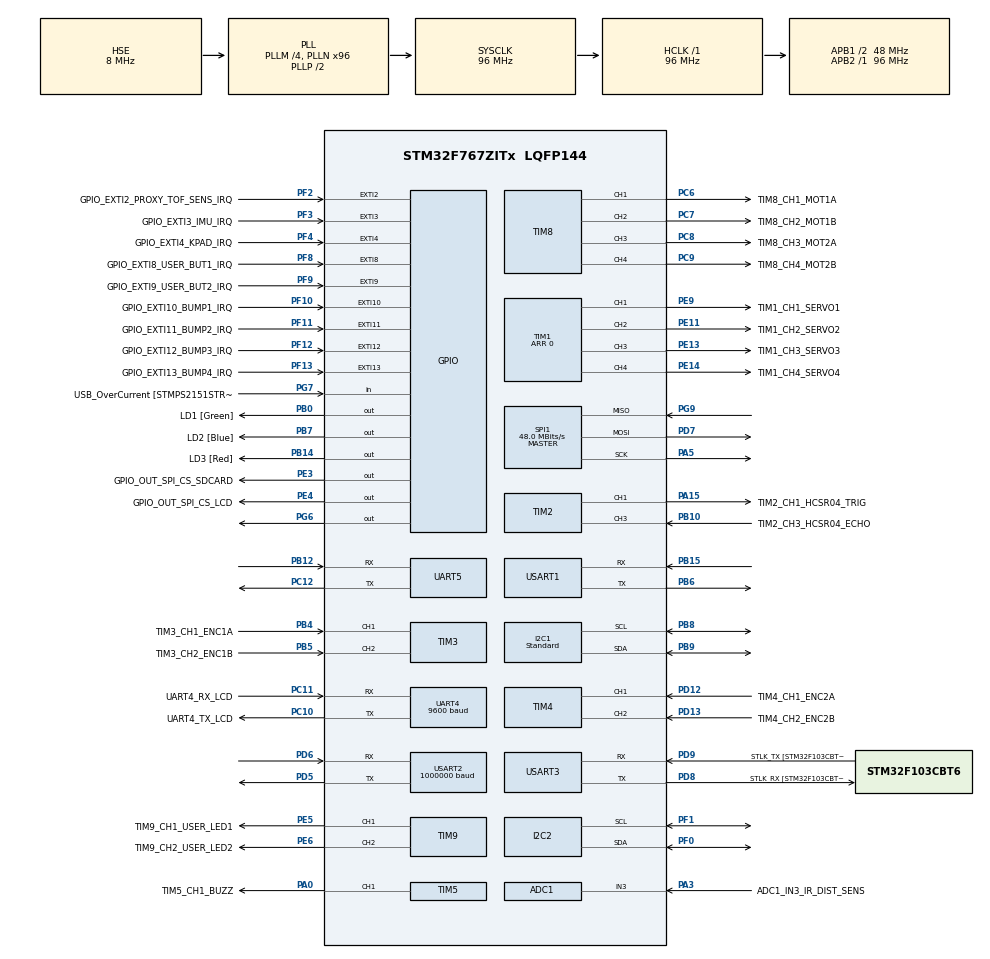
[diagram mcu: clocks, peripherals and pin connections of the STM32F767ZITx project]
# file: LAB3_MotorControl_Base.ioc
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ADC1.Channel-1\#ChannelRegularConversion=ADC_CHANNEL_3
ADC1.NbrOfConversionFlag=1
ADC1.Rank-1\#ChannelRegularConversion=1
ADC1.SamplingTime-1\#ChannelRegularConversion=ADC_SAMPLETIME_3CYCLES
ADC1.master=1
I2C1.I2C_Speed_Mode=I2C_Standard
I2C1.Timing=0x20303E5D
I2C2.Timing=0x20303E5D
Mcu.Family=STM32F7
Mcu.Name=STM32F767ZITx
Mcu.Package=LQFP144
Mcu.UserConstants=TIM1_ARR_VALUE,1999;TIM8_ARR_VALUE,399;TIM6_ARR_VALUE,99;TIM8_PSC_VALUE,959;TIM3_ARR_VALUE,3839;TIM1_PSC_VALUE,959;TIM6_PSC_VALUE,9599;TIM4_ARR_VALUE,3839
NVIC.PriorityGroup=NVIC_PRIORITYGROUP_4
NVIC.TIM6_DAC_IRQn=true\:1\:0\:true\:false\:true\:true\:true\:true
PA0/WKUP.GPIO_Label=TIM5_CH1_BUZZ
PA0/WKUP.Signal=S_TIM5_CH1
PA1.GPIO_Label=RMII_REF_CLK [LAN8742A-CZ-TR_REFCLK0]
PA1.Signal=ETH_REF_CLK
PA10.GPIO_Label=USB_ID
PA10.Signal=USB_OTG_FS_ID
PA11.GPIO_Label=USB_DM
PA11.Signal=USB_OTG_FS_DM
PA12.GPIO_Label=USB_DP
PA12.Signal=USB_OTG_FS_DP
PA13.GPIO_Label=TMS
PA13.Mode=Serial_Wire
PA13.Signal=SYS_JTMS-SWDIO
PA14.GPIO_Label=TCK
PA14.Mode=Serial_Wire
PA14.Signal=SYS_JTCK-SWCLK
PA15.GPIO_Label=TIM2_CH1_HCSR04_TRIG
PA15.Signal=S_TIM2_CH1_ETR
PA2.GPIO_Label=RMII_MDIO [LAN8742A-CZ-TR_MDIO]
PA2.Signal=ETH_MDIO
PA3.GPIO_Label=ADC1_IN3_IR_DIST_SENS
PA3.Signal=ADCx_IN3
PA5.Mode=Full_Duplex_Master
PA5.Signal=SPI1_SCK
PA7.GPIO_Label=RMII_CRS_DV [LAN8742A-CZ-TR_CRS_DV]
PA7.Signal=ETH_CRS_DV
PA8.GPIO_Label=USB_SOF [TP1]
PA8.Signal=USB_OTG_FS_SOF
PA9.GPIO_Label=USB_VBUS
PA9.Signal=USB_OTG_FS_VBUS
PB0.GPIO_Label=LD1 [Green]
PB0.Signal=GPIO_Output
PB10.GPIO_Label=TIM2_CH3_HCSR04_ECHO
PB10.Signal=S_TIM2_CH3
PB12.Mode=Asynchronous
PB12.Signal=UART5_RX
PB13.GPIO_Label=RMII_TXD1 [LAN8742A-CZ-TR_TXD1]
PB13.Signal=ETH_TXD1
PB14.GPIO_Label=LD3 [Red]
PB14.Signal=GPIO_Output
PB15.Mode=Asynchronous
PB15.Signal=USART1_RX
PB3.GPIO_Label=SWO
PB3.Signal=SYS_JTDO-SWO
PB4.GPIO_Label=TIM3_CH1_ENC1A
PB4.Signal=S_TIM3_CH1
PB5.GPIO_Label=TIM3_CH2_ENC1B
PB5.Signal=S_TIM3_CH2
PB6.Mode=Asynchronous
PB6.Signal=USART1_TX
PB7.GPIO_Label=LD2 [Blue]
PB7.Signal=GPIO_Output
PB8.GPIO_Pu=GPIO_PULLUP
PB8.Mode=I2C
PB8.Signal=I2C1_SCL
PB9.GPIO_Pu=GPIO_PULLUP
PB9.Mode=I2C
PB9.Signal=I2C1_SDA
PC1.GPIO_Label=RMII_MDC [LAN8742A-CZ-TR_MDC]
PC1.Signal=ETH_MDC
PC10.GPIO_Label=UART4_TX_LCD
PC10.Mode=Asynchronous
PC10.Signal=UART4_TX
PC11.GPIO_Label=UART4_RX_LCD
PC11.Mode=Asynchronous
PC11.Signal=UART4_RX
PC12.Mode=Asynchronous
PC12.Signal=UART5_TX
PC14/OSC32_IN.Mode=LSE-External-Oscillator
PC14/OSC32_IN.Signal=RCC_OSC32_IN
PC15/OSC32_OUT.Mode=LSE-External-Oscillator
PC15/OSC32_OUT.Signal=RCC_OSC32_OUT
PC4.GPIO_Label=RMII_RXD0 [LAN8742A-CZ-TR_RXD0]
PC4.Signal=ETH_RXD0
PC5.GPIO_Label=RMII_RXD1 [LAN8742A-CZ-TR_RXD1]
PC5.Signal=ETH_RXD1
PC6.GPIO_Label=TIM8_CH1_MOT1A
PC6.Signal=S_TIM8_CH1
PC7.GPIO_Label=TIM8_CH2_MOT1B
PC7.Signal=S_TIM8_CH2
PC8.GPIO_Label=TIM8_CH3_MOT2A
PC8.Signal=S_TIM8_CH3
PC9.GPIO_Label=TIM8_CH4_MOT2B
PC9.Signal=S_TIM8_CH4
PD12.GPIO_Label=TIM4_CH1_ENC2A
PD12.Signal=S_TIM4_CH1
PD13.GPIO_Label=TIM4_CH2_ENC2B
PD13.Signal=S_TIM4_CH2
PD5.Mode=Asynchronous
PD5.Signal=USART2_TX
PD6.Mode=Asynchronous
PD6.Signal=USART2_RX
PD7.Mode=Full_Duplex_Master
PD7.Signal=SPI1_MOSI
PD8.GPIO_Label=STLK_RX [STM32F103CBT6_PA3]
PD8.Mode=Asynchronous
PD8.Signal=USART3_TX
PD9.GPIO_Label=STLK_TX [STM32F103CBT6_PA2]
PD9.Mode=Asynchronous
PD9.Signal=USART3_RX
PE11.GPIO_Label=TIM1_CH2_SERVO2
PE11.Signal=S_TIM1_CH2
PE13.GPIO_Label=TIM1_CH3_SERVO3
PE13.Signal=S_TIM1_CH3
PE14.GPIO_Label=TIM1_CH4_SERVO4
PE14.Signal=S_TIM1_CH4
PE3.GPIO_Label=GPIO_OUT_SPI_CS_SDCARD
PE3.Signal=GPIO_Output
PE4.GPIO_Label=GPIO_OUT_SPI_CS_LCD
PE4.Signal=GPIO_Output
PE5.GPIO_Label=TIM9_CH1_USER_LED1
PE5.Signal=S_TIM9_CH1
PE6.GPIO_Label=TIM9_CH2_USER_LED2
PE6.Signal=S_TIM9_CH2
PE9.GPIO_Label=TIM1_CH1_SERVO1
PE9.Signal=S_TIM1_CH1
PF0.GPIO_Pu=GPIO_PULLUP
PF0.Mode=I2C
PF0.Signal=I2C2_SDA
PF1.GPIO_Pu=GPIO_PULLUP
PF1.Mode=I2C
PF1.Signal=I2C2_SCL
PF10.GPIO_Label=GPIO_EXTI10_BUMP1_IRQ
PF10.Signal=GPXTI10
PF11.GPIO_Label=GPIO_EXTI11_BUMP2_IRQ
PF11.Signal=GPXTI11
PF12.GPIO_Label=GPIO_EXTI12_BUMP3_IRQ
PF12.Signal=GPXTI12
PF13.GPIO_Label=GPIO_EXTI13_BUMP4_IRQ
PF13.Signal=GPXTI13
PF2.GPIO_Label=GPIO_EXTI2_PROXY_TOF_SENS_IRQ
PF2.Signal=GPXTI2
PF3.GPIO_Label=GPIO_EXTI3_IMU_IRQ
PF3.Signal=GPXTI3
PF4.GPIO_Label=GPIO_EXTI4_KPAD_IRQ
PF4.Signal=GPXTI4
PF8.GPIO_Label=GPIO_EXTI8_USER_BUT1_IRQ
PF8.Signal=GPXTI8
PF9.GPIO_Label=GPIO_EXTI9_USER_BUT2_IRQ
PF9.Signal=GPXTI9
PG11.GPIO_Label=RMII_TX_EN [LAN8742A-CZ-TR_TXEN]
PG11.Signal=ETH_TX_EN
PG13.GPIO_Label=RMII_TXD0 [LAN8742A-CZ-TR_TXD0]
PG13.Signal=ETH_TXD0
PG6.Signal=GPIO_Output
PG7.GPIO_Label=USB_OverCurrent [STMPS2151STR_FAULT]
PG7.Signal=GPIO_Input
PG9.Mode=Full_Duplex_Master
PG9.Signal=SPI1_MISO
PH0/OSC_IN.GPIO_Label=MCO [STM32F103CBT6_PA8]
PH0/OSC_IN.Mode=HSE-External-Clock-Source
PH0/OSC_IN.Signal=RCC_OSC_IN
PH1/OSC_OUT.Mode=HSE-External-Clock-Source
PH1/OSC_OUT.Signal=RCC_OSC_OUT
ProjectManager.HeapSize=0x200
ProjectManager.StackSize=0x400
ProjectManager.TargetToolchain=STM32CubeIDE
RCC.48MHZClocksFreq_Value=24000000
RCC.AHBFreq_Value=96000000
RCC.APB1CLKDivider=RCC_HCLK_DIV2
RCC.APB1Freq_Value=48000000
RCC.APB1TimFreq_Value=96000000
RCC.APB2Freq_Value=96000000
RCC.APB2TimFreq_Value=96000000
RCC.CortexFreq_Value=96000000
RCC.HCLKFreq_Value=96000000
RCC.HSE_VALUE=8000000
RCC.HSI_VALUE=16000000
RCC.PLLM=4
RCC.PLLMUL=RCC_PLL_MUL9
RCC.PLLN=96
RCC.PLLQ=4
RCC.PLLSourceVirtual=RCC_PLLSOURCE_HSE
RCC.PRESCALERUSB=RCC_USBCLKSOURCE_PLL_DIV1_5
RCC.SYSCLKFreq_VALUE=96000000
RCC.SYSCLKSource=RCC_SYSCLKSOURCE_PLLCLK
RCC.SYSCLKSourceVirtual=RCC_SYSCLKSOURCE_PLLCLK
RCC.USBFreq_Value=48000000
RCC.VCOOutputFreq_Value=192000000
SH.ADCx_IN3.0=ADC1_IN3,IN3
SH.S_TIM1_CH1.0=TIM1_CH1,Forced Output1 CH1
SH.S_TIM1_CH2.0=TIM1_CH2,Forced Output2 CH2
SH.S_TIM1_CH3.0=TIM1_CH3,Forced Output3 CH3
SH.S_TIM1_CH4.0=TIM1_CH4,Forced Output4 CH4
SH.S_TIM2_CH1_ETR.0=TIM2_CH1,PWM Generation1 CH1
SH.S_TIM2_CH3.0=TIM2_CH3,Input_Capture3_from_TI3
SH.S_TIM3_CH1.0=TIM3_CH1,Encoder_Interface
SH.S_TIM3_CH2.0=TIM3_CH2,Encoder_Interface
SH.S_TIM4_CH1.0=TIM4_CH1,Encoder_Interface
SH.S_TIM4_CH2.0=TIM4_CH2,Encoder_Interface
SH.S_TIM5_CH1.0=TIM5_CH1,PWM Generation1 CH1
SH.S_TIM8_CH1.0=TIM8_CH1,PWM Generation1 CH1
SH.S_TIM8_CH2.0=TIM8_CH2,PWM Generation2 CH2
SH.S_TIM8_CH3.0=TIM8_CH3,PWM Generation3 CH3
SH.S_TIM8_CH4.0=TIM8_CH4,PWM Generation4 CH4
SH.S_TIM9_CH1.0=TIM9_CH1,PWM Generation1 CH1
SH.S_TIM9_CH2.0=TIM9_CH2,PWM Generation2 CH2
SPI1.CalculateBaudRate=48.0 MBits/s
SPI1.Direction=SPI_DIRECTION_2LINES
SPI1.Mode=SPI_MODE_MASTER
SPI1.VirtualType=VM_MASTER
TIM1.Channel-Forced\ Output1\ CH1=TIM_CHANNEL_1
TIM1.Channel-Forced\ Output2\ CH2=TIM_CHANNEL_2
TIM1.Channel-Forced\ Output3\ CH3=TIM_CHANNEL_3
TIM1.Channel-Forced\ Output4\ CH4=TIM_CHANNEL_4
TIM1.OCPolarity_1=TIM_OCPOLARITY_LOW
TIM1.OCPolarity_2=TIM_OCPOLARITY_LOW
TIM1.OCPolarity_3=TIM_OCPOLARITY_LOW
TIM1.OCPolarity_4=TIM_OCPOLARITY_LOW
TIM1.Period=0
TIM2.Channel-Input_Capture3_from_TI3=TIM_CHANNEL_3
TIM2.Channel-PWM\ Generation1\ CH1=TIM_CHANNEL_1
TIM3.EncoderMode=TIM_ENCODERMODE_TI12
TIM3.IC1Filter=15
TIM3.IC2Filter=15
TIM3.Period=TIM3_ARR_VALUE
TIM4.EncoderMode=TIM_ENCODERMODE_TI12
TIM4.IC1Filter=15
TIM4.IC2Filter=15
TIM4.Period=TIM4_ARR_VALUE
TIM5.Channel-PWM\ Generation1\ CH1=TIM_CHANNEL_1
TIM6.Period=TIM6_ARR_VALUE
TIM6.Prescaler=TIM6_PSC_VALUE
TIM8.Channel-PWM\ Generation1\ CH1=TIM_CHANNEL_1
TIM8.Channel-PWM\ Generation2\ CH2=TIM_CHANNEL_2
TIM8.Channel-PWM\ Generation3\ CH3=TIM_CHANNEL_3
TIM8.Channel-PWM\ Generation4\ CH4=TIM_CHANNEL_4
TIM8.Period=TIM8_ARR_VALUE
TIM8.Prescaler=TIM8_PSC_VALUE
TIM9.Channel-PWM\ Generation1\ CH1=TIM_CHANNEL_1
TIM9.Channel-PWM\ Generation2\ CH2=TIM_CHANNEL_2
UART4.BaudRate=9600
USART1.VirtualMode-Asynchronous=VM_ASYNC
USART2.BaudRate=1000000
USART2.VirtualMode-Asynchronous=VM_ASYNC
USART3.VirtualMode-Asynchronous=VM_ASYNC
VP_TIM1_VS_ClockSourceINT.Mode=Internal
VP_TIM2_VS_ClockSourceINT.Mode=Internal
VP_TIM5_VS_ClockSourceINT.Mode=Internal
VP_TIM6_VS_ClockSourceINT.Mode=Enable_Timer
VP_TIM8_VS_ClockSourceINT.Mode=Internal
board=NUCLEO-F767ZI

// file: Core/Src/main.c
/* USER CODE BEGIN Header */
/**
 ******************************************************************************
 * @file           : main.c
 * @brief          : Main program body
 ******************************************************************************
 * @attention
 *
 * <h2><center>&copy; Copyright (c) 2021 STMicroelectronics.
 * All rights reserved.</center></h2>
 *
 * This software component is licensed by ST under BSD 3-Clause license,
 * the "License"; You may not use this file except in compliance with the
 * License. You may obtain a copy of the License at:
 *                        opensource.org/licenses/BSD-3-Clause
 *
 ******************************************************************************
 */
/* USER CODE END Header */
#include "main.h"

/* USER CODE BEGIN Includes */
#include <math.h>
#include <stdbool.h>
#include "ertc-datalogger.h"
/* USER CODE END Includes */

/* USER CODE BEGIN PD */
//#define	HAL_TIMEOUT		1
#define TS	0.01

#define VBATT	12.0/2.0
#define V2DUTY	((float)(TIM8_ARR_VALUE+1)/VBATT)
#define DUTY2V	((float)VBATT/(TIM8_ARR_VALUE+1))

#define RPM2RADS	2*M_PI/60
#define PPR_WHEEL 3840.0f

#define TIM3_ARR_VALUE 3840
#define TIM4_ARR_VALUE 3840

/* USER CODE END PD */

ADC_HandleTypeDef hadc1;

I2C_HandleTypeDef hi2c1;
I2C_HandleTypeDef hi2c2;

SPI_HandleTypeDef hspi1;

TIM_HandleTypeDef htim1;
TIM_HandleTypeDef htim2;
TIM_HandleTypeDef htim3;
TIM_HandleTypeDef htim4;
TIM_HandleTypeDef htim5;
TIM_HandleTypeDef htim6;
TIM_HandleTypeDef htim8;
TIM_HandleTypeDef htim9;

UART_HandleTypeDef huart4;
UART_HandleTypeDef huart5;
UART_HandleTypeDef huart1;
UART_HandleTypeDef huart2;
UART_HandleTypeDef huart3;

/* USER CODE BEGIN PV */
struct ertc_dlog logger;
float kp = 2.0; // Proportional gain (to be tuned)
float ki = 0.3; // Integral gain (to be tuned)
float kw = 10;  // Anti Wind up gain
float ref_w1 = 30.0; // Reference speed for motor 1 (rpm)
float ref_w2 = 30.0; // Reference speed for motor 2 (rpm)
float integral_w1 = 0.0, integral_w2 = 0.0; // Integral terms
float prev_count_w1 = 0.0, prev_count_w2 = 0.0; // Previous encoder counts
float sat_err1 = 0.0, sat_err2 = 0.0;
/* USER CODE END PV */

void SystemClock_Config(void);
static void MX_GPIO_Init(void);
static void MX_USART3_UART_Init(void);
static void MX_ADC1_Init(void);
static void MX_I2C1_Init(void);
static void MX_I2C2_Init(void);
static void MX_SPI1_Init(void);
static void MX_TIM1_Init(void);
static void MX_TIM2_Init(void);
static void MX_TIM3_Init(void);
static void MX_TIM4_Init(void);
static void MX_TIM5_Init(void);
static void MX_TIM8_Init(void);
static void MX_UART4_Init(void);
static void MX_UART5_Init(void);
static void MX_USART1_UART_Init(void);
static void MX_USART2_UART_Init(void);
static void MX_TIM9_Init(void);
static void MX_TIM6_Init(void);

/* USER CODE BEGIN 0 */

int _write(int file, char *ptr, int len)
{
	int DataIdx;
	for (DataIdx = 0; DataIdx < len; DataIdx++)
	{
		ITM_SendChar(*ptr++);
	}
	return len;
}

struct datalog {
	float w1, w2;
	float u1, u2;
} data;

void HAL_TIM_PeriodElapsedCallback(TIM_HandleTypeDef *htim)
{

	static int kLed = 0;
	// 1. Read encoder counts with overflow/underflow handling
	int32_t TIM3_CurrentCount = __HAL_TIM_GET_COUNTER(&htim3);
	int32_t TIM4_CurrentCount = __HAL_TIM_GET_COUNTER(&htim4);
	int32_t TIM3_DiffCount, TIM4_DiffCount;

	/* Speed ctrl routine */
	if(htim->Instance == TIM6)
	{

		// Indicate that the program is running
		if(++kLed >= 10)
		{
			kLed = 0;
			HAL_GPIO_TogglePin(LD2_GPIO_Port, LD2_Pin);
		}

		if (__HAL_TIM_IS_TIM_COUNTING_DOWN(&htim3)) {
			if (TIM3_CurrentCount <= prev_count_w1) {
				TIM3_DiffCount = TIM3_CurrentCount - prev_count_w1;
			} else {
				TIM3_DiffCount = -((TIM3_ARR_VALUE + 1) - TIM3_CurrentCount) - prev_count_w1;
			}
		} else {
			if (TIM3_CurrentCount >= prev_count_w1) {
				TIM3_DiffCount = TIM3_CurrentCount - prev_count_w1;
			} else {
				TIM3_DiffCount = ((TIM3_ARR_VALUE + 1) - prev_count_w1) + TIM3_CurrentCount;
			}
		}
		prev_count_w1 = TIM3_CurrentCount;

		if (__HAL_TIM_IS_TIM_COUNTING_DOWN(&htim4)) {
			if (TIM4_CurrentCount <= prev_count_w2) {
				TIM4_DiffCount = TIM4_CurrentCount - prev_count_w2;
			} else {
				TIM4_DiffCount = -((TIM4_ARR_VALUE + 1) - TIM4_CurrentCount) - prev_count_w2;
			}
		} else {
			if (TIM4_CurrentCount >= prev_count_w2) {
				TIM4_DiffCount = TIM4_CurrentCount - prev_count_w2;
			} else {
				TIM4_DiffCount = ((TIM4_ARR_VALUE + 1) - prev_count_w2) + TIM4_CurrentCount;
			}
		}
		prev_count_w2 = TIM4_CurrentCount;

		// 2. Calculate angular speed (rpm)
		float w1 = (TIM3_DiffCount / PPR_WHEEL) * 60.0f / TS;
		float w2 = (TIM4_DiffCount / PPR_WHEEL) * 60.0f / TS;

		// 3. Calculate error
		float error_w1 = ref_w1 - w1;
		float error_w2 = ref_w2 - w2;
		printf("%ld, %ld\n", (int32_t)error_w1, (int32_t)error_w2);

		// 4. Calculate proportional term
		float p_term_w1 = kp * error_w1;
		float p_term_w2 = kp * error_w2;

		// 5. Calculate integral term
		integral_w1 += (ki * error_w1 - kw * sat_err1)* TS;
		integral_w2 += (ki * error_w2 - kw * sat_err2) * TS;

		// 6. Calculate control signal (u)
		float u1 = p_term_w1 + integral_w1;
		float u2 = p_term_w2 + integral_w2;

		// 7. Saturate control signal to avoid exceeding VBATT
		float u1_sat = fminf(fmaxf(u1, -VBATT), VBATT);
		float u2_sat = fminf(fmaxf(u2, -VBATT), VBATT);

		sat_err1 = u1 - u1_sat;
		sat_err2 = u2 - u2_sat;

		int32_t duty1 = u1_sat * V2DUTY;
		int32_t duty2 = u2_sat * V2DUTY;

		/* calculate duty properly */
		if ( duty1 >= 0) { // rotate forward
			/* alternate between forward and coast */
			__HAL_TIM_SET_COMPARE (& htim8 , TIM_CHANNEL_1 , ( uint32_t ) duty1 );
			__HAL_TIM_SET_COMPARE (& htim8 , TIM_CHANNEL_2 , 0) ;
			/* alternate between forward and brake , TIM8_ARR_VALUE is a define */
			 __HAL_TIM_SET_COMPARE (& htim8 , TIM_CHANNEL_1 , ( uint32_t ) TIM8_ARR_VALUE );
			 __HAL_TIM_SET_COMPARE (& htim8 , TIM_CHANNEL_2 , ( uint32_t )( TIM8_ARR_VALUE - duty1 ));

		} else { // rotate backward
			__HAL_TIM_SET_COMPARE (& htim8 , TIM_CHANNEL_1 , 0) ;
			__HAL_TIM_SET_COMPARE (& htim8 , TIM_CHANNEL_2 , ( uint32_t ) - duty1 );
		}

		if ( duty2 >= 0) { // rotate forward
			/* alternate between forward and coast */
			//__HAL_TIM_SET_COMPARE (& htim8 , TIM_CHANNEL_3 , ( uint32_t ) duty2 );
			//__HAL_TIM_SET_COMPARE (& htim8 , TIM_CHANNEL_4 , 0) ;
			/* alternate between forward and brake , TIM8_ARR_VALUE is a define */
			 __HAL_TIM_SET_COMPARE (& htim8 , TIM_CHANNEL_3 , ( uint32_t ) TIM8_ARR_VALUE );
			 __HAL_TIM_SET_COMPARE (& htim8 , TIM_CHANNEL_4 , ( uint32_t )( TIM8_ARR_VALUE - duty2 ));

		} else { // rotate backward
			__HAL_TIM_SET_COMPARE (& htim8 , TIM_CHANNEL_3 , 0) ;
			__HAL_TIM_SET_COMPARE (& htim8 , TIM_CHANNEL_4 , ( uint32_t ) - duty2 );
		}

		// Log data
		data.w1 = w1;
		data.w2 = w2;
		data.u1 = u1;
		data.u2 = u2;
		ertc_dlog_send(&logger, &data, sizeof(data));
	}
}
/* USER CODE END 0 */

int main(void)
{

	/* MCU Configuration--------------------------------------------------------*/

	/* Reset of all peripherals, Initializes the Flash interface and the Systick. */
	HAL_Init();

	/* Configure the system clock */
	SystemClock_Config();

	/* Initialize all configured peripherals */
	MX_GPIO_Init();
	MX_USART3_UART_Init();
	MX_ADC1_Init();
	MX_I2C1_Init();
	MX_I2C2_Init();
	MX_SPI1_Init();
	MX_TIM1_Init();
	MX_TIM2_Init();
	MX_TIM3_Init();
	MX_TIM4_Init();
	MX_TIM5_Init();
	MX_TIM8_Init();
	MX_UART4_Init();
	MX_UART5_Init();
	MX_USART1_UART_Init();
	MX_USART2_UART_Init();
	MX_TIM9_Init();
	MX_TIM6_Init();
	/* USER CODE BEGIN 2 */

	logger.uart_handle = huart3; // for serial
	//logger.uart_handle = huart2; // for wifi

	/* Reset LCD */
	HAL_GPIO_WritePin(GPIO_OUT_SPI_CS_LCD_GPIO_Port, GPIO_OUT_SPI_CS_LCD_Pin, GPIO_PIN_SET);

	HAL_Delay(1000);

	/* Start encoders timers */
	HAL_TIM_Encoder_Start(&htim3, TIM_CHANNEL_ALL);
	HAL_TIM_Encoder_Start(&htim4, TIM_CHANNEL_ALL);

	/* Start servomotors PWM (avoid floating inputs to servomotors) */
	HAL_TIM_PWM_Start(&htim1, TIM_CHANNEL_1);
	HAL_TIM_PWM_Start(&htim1, TIM_CHANNEL_2);
	HAL_TIM_PWM_Start(&htim1, TIM_CHANNEL_3);
	HAL_TIM_PWM_Start(&htim1, TIM_CHANNEL_4);

	/* Start motor PWM */
	__HAL_TIM_SET_COMPARE(&htim8, TIM_CHANNEL_1, 0);
	__HAL_TIM_SET_COMPARE(&htim8, TIM_CHANNEL_2, 0);
	__HAL_TIM_SET_COMPARE(&htim8, TIM_CHANNEL_3, 0);
	__HAL_TIM_SET_COMPARE(&htim8, TIM_CHANNEL_4, 0);

	HAL_TIM_PWM_Start(&htim8, TIM_CHANNEL_1);
	HAL_TIM_PWM_Start(&htim8, TIM_CHANNEL_2);
	HAL_TIM_PWM_Start(&htim8, TIM_CHANNEL_3);
	HAL_TIM_PWM_Start(&htim8, TIM_CHANNEL_4);

	/* Start speed ctrl ISR */
	HAL_TIM_Base_Start_IT(&htim6);

	/* USER CODE END 2 */

	/* Infinite loop */
	while (1)
	{

		/* USER CODE BEGIN 3 */
		ertc_dlog_update(&logger);

	}
	/* USER CODE END 3 */
}

void SystemClock_Config(void)
{
	RCC_OscInitTypeDef RCC_OscInitStruct = {0};
	RCC_ClkInitTypeDef RCC_ClkInitStruct = {0};

	/** Configure LSE Drive Capability
	 */
	HAL_PWR_EnableBkUpAccess();

	/** Configure the main internal regulator output voltage
	 */
	__HAL_RCC_PWR_CLK_ENABLE();
	__HAL_PWR_VOLTAGESCALING_CONFIG(PWR_REGULATOR_VOLTAGE_SCALE3);

	/** Initializes the RCC Oscillators according to the specified parameters
	 * in the RCC_OscInitTypeDef structure.
	 */
	RCC_OscInitStruct.OscillatorType = RCC_OSCILLATORTYPE_HSE;
	RCC_OscInitStruct.HSEState = RCC_HSE_BYPASS;
	RCC_OscInitStruct.PLL.PLLState = RCC_PLL_ON;
	RCC_OscInitStruct.PLL.PLLSource = RCC_PLLSOURCE_HSE;
	RCC_OscInitStruct.PLL.PLLM = 4;
	RCC_OscInitStruct.PLL.PLLN = 96;
	RCC_OscInitStruct.PLL.PLLP = RCC_PLLP_DIV2;
	RCC_OscInitStruct.PLL.PLLQ = 4;
	RCC_OscInitStruct.PLL.PLLR = 2;
	if (HAL_RCC_OscConfig(&RCC_OscInitStruct) != HAL_OK)
	{
		Error_Handler();
	}

	/** Activate the Over-Drive mode
	 */
	if (HAL_PWREx_EnableOverDrive() != HAL_OK)
	{
		Error_Handler();
	}

	/** Initializes the CPU, AHB and APB buses clocks
	 */
	RCC_ClkInitStruct.ClockType = RCC_CLOCKTYPE_HCLK|RCC_CLOCKTYPE_SYSCLK
			|RCC_CLOCKTYPE_PCLK1|RCC_CLOCKTYPE_PCLK2;
	RCC_ClkInitStruct.SYSCLKSource = RCC_SYSCLKSOURCE_PLLCLK;
	RCC_ClkInitStruct.AHBCLKDivider = RCC_SYSCLK_DIV1;
	RCC_ClkInitStruct.APB1CLKDivider = RCC_HCLK_DIV2;
	RCC_ClkInitStruct.APB2CLKDivider = RCC_HCLK_DIV1;

	if (HAL_RCC_ClockConfig(&RCC_ClkInitStruct, FLASH_LATENCY_3) != HAL_OK)
	{
		Error_Handler();
	}
}

static void MX_ADC1_Init(void)
{

	ADC_ChannelConfTypeDef sConfig = {0};

	/** Configure the global features of the ADC (Clock, Resolution, Data Alignment and number of conversion)
	 */
	hadc1.Instance = ADC1;
	hadc1.Init.ClockPrescaler = ADC_CLOCK_SYNC_PCLK_DIV4;
	hadc1.Init.Resolution = ADC_RESOLUTION_12B;
	hadc1.Init.ScanConvMode = ADC_SCAN_DISABLE;
	hadc1.Init.ContinuousConvMode = DISABLE;
	hadc1.Init.DiscontinuousConvMode = DISABLE;
	hadc1.Init.ExternalTrigConvEdge = ADC_EXTERNALTRIGCONVEDGE_NONE;
	hadc1.Init.ExternalTrigConv = ADC_SOFTWARE_START;
	hadc1.Init.DataAlign = ADC_DATAALIGN_RIGHT;
	hadc1.Init.NbrOfConversion = 1;
	hadc1.Init.DMAContinuousRequests = DISABLE;
	hadc1.Init.EOCSelection = ADC_EOC_SINGLE_CONV;
	if (HAL_ADC_Init(&hadc1) != HAL_OK)
	{
		Error_Handler();
	}

	/** Configure for the selected ADC regular channel its corresponding rank in the sequencer and its sample time.
	 */
	sConfig.Channel = ADC_CHANNEL_3;
	sConfig.Rank = ADC_REGULAR_RANK_1;
	sConfig.SamplingTime = ADC_SAMPLETIME_3CYCLES;
	if (HAL_ADC_ConfigChannel(&hadc1, &sConfig) != HAL_OK)
	{
		Error_Handler();
	}

}

static void MX_I2C1_Init(void)
{

	hi2c1.Instance = I2C1;
	hi2c1.Init.Timing = 0x20303E5D;
	hi2c1.Init.OwnAddress1 = 0;
	hi2c1.Init.AddressingMode = I2C_ADDRESSINGMODE_7BIT;
	hi2c1.Init.DualAddressMode = I2C_DUALADDRESS_DISABLE;
	hi2c1.Init.OwnAddress2 = 0;
	hi2c1.Init.OwnAddress2Masks = I2C_OA2_NOMASK;
	hi2c1.Init.GeneralCallMode = I2C_GENERALCALL_DISABLE;
	hi2c1.Init.NoStretchMode = I2C_NOSTRETCH_DISABLE;
	if (HAL_I2C_Init(&hi2c1) != HAL_OK)
	{
		Error_Handler();
	}

	/** Configure Analogue filter
	 */
	if (HAL_I2CEx_ConfigAnalogFilter(&hi2c1, I2C_ANALOGFILTER_ENABLE) != HAL_OK)
	{
		Error_Handler();
	}

	/** Configure Digital filter
	 */
	if (HAL_I2CEx_ConfigDigitalFilter(&hi2c1, 0) != HAL_OK)
	{
		Error_Handler();
	}

}

static void MX_I2C2_Init(void)
{

	hi2c2.Instance = I2C2;
	hi2c2.Init.Timing = 0x20303E5D;
	hi2c2.Init.OwnAddress1 = 0;
	hi2c2.Init.AddressingMode = I2C_ADDRESSINGMODE_7BIT;
	hi2c2.Init.DualAddressMode = I2C_DUALADDRESS_DISABLE;
	hi2c2.Init.OwnAddress2 = 0;
	hi2c2.Init.OwnAddress2Masks = I2C_OA2_NOMASK;
	hi2c2.Init.GeneralCallMode = I2C_GENERALCALL_DISABLE;
	hi2c2.Init.NoStretchMode = I2C_NOSTRETCH_DISABLE;
	if (HAL_I2C_Init(&hi2c2) != HAL_OK)
	{
		Error_Handler();
	}

	/** Configure Analogue filter
	 */
	if (HAL_I2CEx_ConfigAnalogFilter(&hi2c2, I2C_ANALOGFILTER_ENABLE) != HAL_OK)
	{
		Error_Handler();
	}

	/** Configure Digital filter
	 */
	if (HAL_I2CEx_ConfigDigitalFilter(&hi2c2, 0) != HAL_OK)
	{
		Error_Handler();
	}

}

static void MX_SPI1_Init(void)
{

	/* SPI1 parameter configuration*/
	hspi1.Instance = SPI1;
	hspi1.Init.Mode = SPI_MODE_MASTER;
	hspi1.Init.Direction = SPI_DIRECTION_2LINES;
	hspi1.Init.DataSize = SPI_DATASIZE_4BIT;
	hspi1.Init.CLKPolarity = SPI_POLARITY_LOW;
	hspi1.Init.CLKPhase = SPI_PHASE_1EDGE;
	hspi1.Init.NSS = SPI_NSS_SOFT;
	hspi1.Init.BaudRatePrescaler = SPI_BAUDRATEPRESCALER_2;
	hspi1.Init.FirstBit = SPI_FIRSTBIT_MSB;
	hspi1.Init.TIMode = SPI_TIMODE_DISABLE;
	hspi1.Init.CRCCalculation = SPI_CRCCALCULATION_DISABLE;
	hspi1.Init.CRCPolynomial = 7;
	hspi1.Init.CRCLength = SPI_CRC_LENGTH_DATASIZE;
	hspi1.Init.NSSPMode = SPI_NSS_PULSE_ENABLE;
	if (HAL_SPI_Init(&hspi1) != HAL_OK)
	{
		Error_Handler();
	}

}

static void MX_TIM1_Init(void)
{

	TIM_ClockConfigTypeDef sClockSourceConfig = {0};
	TIM_MasterConfigTypeDef sMasterConfig = {0};
	TIM_OC_InitTypeDef sConfigOC = {0};
	TIM_BreakDeadTimeConfigTypeDef sBreakDeadTimeConfig = {0};

	htim1.Instance = TIM1;
	htim1.Init.Prescaler = 0;
	htim1.Init.CounterMode = TIM_COUNTERMODE_UP;
	htim1.Init.Period = 0;
	htim1.Init.ClockDivision = TIM_CLOCKDIVISION_DIV1;
	htim1.Init.RepetitionCounter = 0;
	htim1.Init.AutoReloadPreload = TIM_AUTORELOAD_PRELOAD_DISABLE;
	if (HAL_TIM_Base_Init(&htim1) != HAL_OK)
	{
		Error_Handler();
	}
	sClockSourceConfig.ClockSource = TIM_CLOCKSOURCE_INTERNAL;
	if (HAL_TIM_ConfigClockSource(&htim1, &sClockSourceConfig) != HAL_OK)
	{
		Error_Handler();
	}
	if (HAL_TIM_OC_Init(&htim1) != HAL_OK)
	{
		Error_Handler();
	}
	sMasterConfig.MasterOutputTrigger = TIM_TRGO_RESET;
	sMasterConfig.MasterOutputTrigger2 = TIM_TRGO2_RESET;
	sMasterConfig.MasterSlaveMode = TIM_MASTERSLAVEMODE_DISABLE;
	if (HAL_TIMEx_MasterConfigSynchronization(&htim1, &sMasterConfig) != HAL_OK)
	{
		Error_Handler();
	}
	sConfigOC.OCMode = TIM_OCMODE_FORCED_ACTIVE;
	sConfigOC.Pulse = 0;
	sConfigOC.OCPolarity = TIM_OCPOLARITY_LOW;
	sConfigOC.OCNPolarity = TIM_OCNPOLARITY_HIGH;
	sConfigOC.OCFastMode = TIM_OCFAST_DISABLE;
	sConfigOC.OCIdleState = TIM_OCIDLESTATE_RESET;
	sConfigOC.OCNIdleState = TIM_OCNIDLESTATE_RESET;
	if (HAL_TIM_OC_ConfigChannel(&htim1, &sConfigOC, TIM_CHANNEL_1) != HAL_OK)
	{
		Error_Handler();
	}
	if (HAL_TIM_OC_ConfigChannel(&htim1, &sConfigOC, TIM_CHANNEL_2) != HAL_OK)
	{
		Error_Handler();
	}
	if (HAL_TIM_OC_ConfigChannel(&htim1, &sConfigOC, TIM_CHANNEL_3) != HAL_OK)
	{
		Error_Handler();
	}
	if (HAL_TIM_OC_ConfigChannel(&htim1, &sConfigOC, TIM_CHANNEL_4) != HAL_OK)
	{
		Error_Handler();
	}
	sBreakDeadTimeConfig.OffStateRunMode = TIM_OSSR_DISABLE;
	sBreakDeadTimeConfig.OffStateIDLEMode = TIM_OSSI_DISABLE;
	sBreakDeadTimeConfig.LockLevel = TIM_LOCKLEVEL_OFF;
	sBreakDeadTimeConfig.DeadTime = 0;
	sBreakDeadTimeConfig.BreakState = TIM_BREAK_DISABLE;
	sBreakDeadTimeConfig.BreakPolarity = TIM_BREAKPOLARITY_HIGH;
	sBreakDeadTimeConfig.BreakFilter = 0;
	sBreakDeadTimeConfig.Break2State = TIM_BREAK2_DISABLE;
	sBreakDeadTimeConfig.Break2Polarity = TIM_BREAK2POLARITY_HIGH;
	sBreakDeadTimeConfig.Break2Filter = 0;
	sBreakDeadTimeConfig.AutomaticOutput = TIM_AUTOMATICOUTPUT_DISABLE;
	if (HAL_TIMEx_ConfigBreakDeadTime(&htim1, &sBreakDeadTimeConfig) != HAL_OK)
	{
		Error_Handler();
	}
	HAL_TIM_MspPostInit(&htim1);

}

static void MX_TIM2_Init(void)
{

	TIM_ClockConfigTypeDef sClockSourceConfig = {0};
	TIM_MasterConfigTypeDef sMasterConfig = {0};
	TIM_OC_InitTypeDef sConfigOC = {0};
	TIM_IC_InitTypeDef sConfigIC = {0};

	htim2.Instance = TIM2;
	htim2.Init.Prescaler = 0;
	htim2.Init.CounterMode = TIM_COUNTERMODE_UP;
	htim2.Init.Period = 4294967295;
	htim2.Init.ClockDivision = TIM_CLOCKDIVISION_DIV1;
	htim2.Init.AutoReloadPreload = TIM_AUTORELOAD_PRELOAD_DISABLE;
	if (HAL_TIM_Base_Init(&htim2) != HAL_OK)
	{
		Error_Handler();
	}
	sClockSourceConfig.ClockSource = TIM_CLOCKSOURCE_INTERNAL;
	if (HAL_TIM_ConfigClockSource(&htim2, &sClockSourceConfig) != HAL_OK)
	{
		Error_Handler();
	}
	if (HAL_TIM_PWM_Init(&htim2) != HAL_OK)
	{
		Error_Handler();
	}
	if (HAL_TIM_IC_Init(&htim2) != HAL_OK)
	{
		Error_Handler();
	}
	sMasterConfig.MasterOutputTrigger = TIM_TRGO_RESET;
	sMasterConfig.MasterSlaveMode = TIM_MASTERSLAVEMODE_DISABLE;
	if (HAL_TIMEx_MasterConfigSynchronization(&htim2, &sMasterConfig) != HAL_OK)
	{
		Error_Handler();
	}
	sConfigOC.OCMode = TIM_OCMODE_PWM1;
	sConfigOC.Pulse = 0;
	sConfigOC.OCPolarity = TIM_OCPOLARITY_HIGH;
	sConfigOC.OCFastMode = TIM_OCFAST_DISABLE;
	if (HAL_TIM_PWM_ConfigChannel(&htim2, &sConfigOC, TIM_CHANNEL_1) != HAL_OK)
	{
		Error_Handler();
	}
	sConfigIC.ICPolarity = TIM_INPUTCHANNELPOLARITY_RISING;
	sConfigIC.ICSelection = TIM_ICSELECTION_DIRECTTI;
	sConfigIC.ICPrescaler = TIM_ICPSC_DIV1;
	sConfigIC.ICFilter = 0;
	if (HAL_TIM_IC_ConfigChannel(&htim2, &sConfigIC, TIM_CHANNEL_3) != HAL_OK)
	{
		Error_Handler();
	}
	HAL_TIM_MspPostInit(&htim2);

}

static void MX_TIM3_Init(void)
{

	TIM_Encoder_InitTypeDef sConfig = {0};
	TIM_MasterConfigTypeDef sMasterConfig = {0};

	htim3.Instance = TIM3;
	htim3.Init.Prescaler = 0;
	htim3.Init.CounterMode = TIM_COUNTERMODE_UP;
	htim3.Init.Period = TIM3_ARR_VALUE;
	htim3.Init.ClockDivision = TIM_CLOCKDIVISION_DIV1;
	htim3.Init.AutoReloadPreload = TIM_AUTORELOAD_PRELOAD_DISABLE;
	sConfig.EncoderMode = TIM_ENCODERMODE_TI12;
	sConfig.IC1Polarity = TIM_ICPOLARITY_RISING;
	sConfig.IC1Selection = TIM_ICSELECTION_DIRECTTI;
	sConfig.IC1Prescaler = TIM_ICPSC_DIV1;
	sConfig.IC1Filter = 15;
	sConfig.IC2Polarity = TIM_ICPOLARITY_RISING;
	sConfig.IC2Selection = TIM_ICSELECTION_DIRECTTI;
	sConfig.IC2Prescaler = TIM_ICPSC_DIV1;
	sConfig.IC2Filter = 15;
	if (HAL_TIM_Encoder_Init(&htim3, &sConfig) != HAL_OK)
	{
		Error_Handler();
	}
	sMasterConfig.MasterOutputTrigger = TIM_TRGO_RESET;
	sMasterConfig.MasterSlaveMode = TIM_MASTERSLAVEMODE_DISABLE;
	if (HAL_TIMEx_MasterConfigSynchronization(&htim3, &sMasterConfig) != HAL_OK)
	{
		Error_Handler();
	}

}

static void MX_TIM4_Init(void)
{

	TIM_Encoder_InitTypeDef sConfig = {0};
	TIM_MasterConfigTypeDef sMasterConfig = {0};

	htim4.Instance = TIM4;
	htim4.Init.Prescaler = 0;
	htim4.Init.CounterMode = TIM_COUNTERMODE_UP;
	htim4.Init.Period = TIM4_ARR_VALUE;
	htim4.Init.ClockDivision = TIM_CLOCKDIVISION_DIV1;
	htim4.Init.AutoReloadPreload = TIM_AUTORELOAD_PRELOAD_DISABLE;
	sConfig.EncoderMode = TIM_ENCODERMODE_TI12;
	sConfig.IC1Polarity = TIM_ICPOLARITY_RISING;
	sConfig.IC1Selection = TIM_ICSELECTION_DIRECTTI;
	sConfig.IC1Prescaler = TIM_ICPSC_DIV1;
	sConfig.IC1Filter = 15;
	sConfig.IC2Polarity = TIM_ICPOLARITY_RISING;
	sConfig.IC2Selection = TIM_ICSELECTION_DIRECTTI;
	sConfig.IC2Prescaler = TIM_ICPSC_DIV1;
	sConfig.IC2Filter = 15;
	if (HAL_TIM_Encoder_Init(&htim4, &sConfig) != HAL_OK)
	{
		Error_Handler();
	}
	sMasterConfig.MasterOutputTrigger = TIM_TRGO_RESET;
	sMasterConfig.MasterSlaveMode = TIM_MASTERSLAVEMODE_DISABLE;
	if (HAL_TIMEx_MasterConfigSynchronization(&htim4, &sMasterConfig) != HAL_OK)
	{
		Error_Handler();
	}

}

static void MX_TIM5_Init(void)
{

	TIM_ClockConfigTypeDef sClockSourceConfig = {0};
	TIM_MasterConfigTypeDef sMasterConfig = {0};
	TIM_OC_InitTypeDef sConfigOC = {0};

	htim5.Instance = TIM5;
	htim5.Init.Prescaler = 0;
	htim5.Init.CounterMode = TIM_COUNTERMODE_UP;
	htim5.Init.Period = 4294967295;
	htim5.Init.ClockDivision = TIM_CLOCKDIVISION_DIV1;
	htim5.Init.AutoReloadPreload = TIM_AUTORELOAD_PRELOAD_DISABLE;
	if (HAL_TIM_Base_Init(&htim5) != HAL_OK)
	{
		Error_Handler();
	}
	sClockSourceConfig.ClockSource = TIM_CLOCKSOURCE_INTERNAL;
	if (HAL_TIM_ConfigClockSource(&htim5, &sClockSourceConfig) != HAL_OK)
	{
		Error_Handler();
	}
	if (HAL_TIM_PWM_Init(&htim5) != HAL_OK)
	{
		Error_Handler();
	}
	sMasterConfig.MasterOutputTrigger = TIM_TRGO_RESET;
	sMasterConfig.MasterSlaveMode = TIM_MASTERSLAVEMODE_DISABLE;
	if (HAL_TIMEx_MasterConfigSynchronization(&htim5, &sMasterConfig) != HAL_OK)
	{
		Error_Handler();
	}
	sConfigOC.OCMode = TIM_OCMODE_PWM1;
	sConfigOC.Pulse = 0;
	sConfigOC.OCPolarity = TIM_OCPOLARITY_HIGH;
	sConfigOC.OCFastMode = TIM_OCFAST_DISABLE;
	if (HAL_TIM_PWM_ConfigChannel(&htim5, &sConfigOC, TIM_CHANNEL_1) != HAL_OK)
	{
		Error_Handler();
	}
	HAL_TIM_MspPostInit(&htim5);

}

static void MX_TIM6_Init(void)
{

	TIM_MasterConfigTypeDef sMasterConfig = {0};

	htim6.Instance = TIM6;
	htim6.Init.Prescaler = TIM6_PSC_VALUE;
	htim6.Init.CounterMode = TIM_COUNTERMODE_UP;
	htim6.Init.Period = TIM6_ARR_VALUE;
	htim6.Init.AutoReloadPreload = TIM_AUTORELOAD_PRELOAD_DISABLE;
	if (HAL_TIM_Base_Init(&htim6) != HAL_OK)
	{
		Error_Handler();
	}
	sMasterConfig.MasterOutputTrigger = TIM_TRGO_RESET;
	sMasterConfig.MasterSlaveMode = TIM_MASTERSLAVEMODE_DISABLE;
	if (HAL_TIMEx_MasterConfigSynchronization(&htim6, &sMasterConfig) != HAL_OK)
	{
		Error_Handler();
	}

}

static void MX_TIM8_Init(void)
{

	TIM_ClockConfigTypeDef sClockSourceConfig = {0};
	TIM_MasterConfigTypeDef sMasterConfig = {0};
	TIM_OC_InitTypeDef sConfigOC = {0};
	TIM_BreakDeadTimeConfigTypeDef sBreakDeadTimeConfig = {0};

	htim8.Instance = TIM8;
	htim8.Init.Prescaler = TIM8_PSC_VALUE;
	htim8.Init.CounterMode = TIM_COUNTERMODE_UP;
	htim8.Init.Period = TIM8_ARR_VALUE;
	htim8.Init.ClockDivision = TIM_CLOCKDIVISION_DIV1;
	htim8.Init.RepetitionCounter = 0;
	htim8.Init.AutoReloadPreload = TIM_AUTORELOAD_PRELOAD_DISABLE;
	if (HAL_TIM_Base_Init(&htim8) != HAL_OK)
	{
		Error_Handler();
	}
	sClockSourceConfig.ClockSource = TIM_CLOCKSOURCE_INTERNAL;
	if (HAL_TIM_ConfigClockSource(&htim8, &sClockSourceConfig) != HAL_OK)
	{
		Error_Handler();
	}
	if (HAL_TIM_PWM_Init(&htim8) != HAL_OK)
	{
		Error_Handler();
	}
	sMasterConfig.MasterOutputTrigger = TIM_TRGO_RESET;
	sMasterConfig.MasterOutputTrigger2 = TIM_TRGO2_RESET;
	sMasterConfig.MasterSlaveMode = TIM_MASTERSLAVEMODE_DISABLE;
	if (HAL_TIMEx_MasterConfigSynchronization(&htim8, &sMasterConfig) != HAL_OK)
	{
		Error_Handler();
	}
	sConfigOC.OCMode = TIM_OCMODE_PWM1;
	sConfigOC.Pulse = 0;
	sConfigOC.OCPolarity = TIM_OCPOLARITY_HIGH;
	sConfigOC.OCNPolarity = TIM_OCNPOLARITY_HIGH;
	sConfigOC.OCFastMode = TIM_OCFAST_DISABLE;
	sConfigOC.OCIdleState = TIM_OCIDLESTATE_RESET;
	sConfigOC.OCNIdleState = TIM_OCNIDLESTATE_RESET;
	if (HAL_TIM_PWM_ConfigChannel(&htim8, &sConfigOC, TIM_CHANNEL_1) != HAL_OK)
	{
		Error_Handler();
	}
	if (HAL_TIM_PWM_ConfigChannel(&htim8, &sConfigOC, TIM_CHANNEL_2) != HAL_OK)
	{
		Error_Handler();
	}
	if (HAL_TIM_PWM_ConfigChannel(&htim8, &sConfigOC, TIM_CHANNEL_3) != HAL_OK)
	{
		Error_Handler();
	}
	if (HAL_TIM_PWM_ConfigChannel(&htim8, &sConfigOC, TIM_CHANNEL_4) != HAL_OK)
	{
		Error_Handler();
	}
	sBreakDeadTimeConfig.OffStateRunMode = TIM_OSSR_DISABLE;
	sBreakDeadTimeConfig.OffStateIDLEMode = TIM_OSSI_DISABLE;
	sBreakDeadTimeConfig.LockLevel = TIM_LOCKLEVEL_OFF;
	sBreakDeadTimeConfig.DeadTime = 0;
	sBreakDeadTimeConfig.BreakState = TIM_BREAK_DISABLE;
	sBreakDeadTimeConfig.BreakPolarity = TIM_BREAKPOLARITY_HIGH;
	sBreakDeadTimeConfig.BreakFilter = 0;
	sBreakDeadTimeConfig.Break2State = TIM_BREAK2_DISABLE;
	sBreakDeadTimeConfig.Break2Polarity = TIM_BREAK2POLARITY_HIGH;
	sBreakDeadTimeConfig.Break2Filter = 0;
	sBreakDeadTimeConfig.AutomaticOutput = TIM_AUTOMATICOUTPUT_DISABLE;
	if (HAL_TIMEx_ConfigBreakDeadTime(&htim8, &sBreakDeadTimeConfig) != HAL_OK)
	{
		Error_Handler();
	}
	HAL_TIM_MspPostInit(&htim8);

}

static void MX_TIM9_Init(void)
{

	TIM_OC_InitTypeDef sConfigOC = {0};

	htim9.Instance = TIM9;
	htim9.Init.Prescaler = 0;
	htim9.Init.CounterMode = TIM_COUNTERMODE_UP;
	htim9.Init.Period = 65535;
	htim9.Init.ClockDivision = TIM_CLOCKDIVISION_DIV1;
	htim9.Init.AutoReloadPreload = TIM_AUTORELOAD_PRELOAD_DISABLE;
	if (HAL_TIM_PWM_Init(&htim9) != HAL_OK)
	{
		Error_Handler();
	}
	sConfigOC.OCMode = TIM_OCMODE_PWM1;
	sConfigOC.Pulse = 0;
	sConfigOC.OCPolarity = TIM_OCPOLARITY_HIGH;
	sConfigOC.OCFastMode = TIM_OCFAST_DISABLE;
	if (HAL_TIM_PWM_ConfigChannel(&htim9, &sConfigOC, TIM_CHANNEL_1) != HAL_OK)
	{
		Error_Handler();
	}
	if (HAL_TIM_PWM_ConfigChannel(&htim9, &sConfigOC, TIM_CHANNEL_2) != HAL_OK)
	{
		Error_Handler();
	}
	HAL_TIM_MspPostInit(&htim9);

}

static void MX_UART4_Init(void)
{

	huart4.Instance = UART4;
	huart4.Init.BaudRate = 9600;
	huart4.Init.WordLength = UART_WORDLENGTH_8B;
	huart4.Init.StopBits = UART_STOPBITS_1;
	huart4.Init.Parity = UART_PARITY_NONE;
	huart4.Init.Mode = UART_MODE_TX_RX;
	huart4.Init.HwFlowCtl = UART_HWCONTROL_NONE;
	huart4.Init.OverSampling = UART_OVERSAMPLING_16;
	huart4.Init.OneBitSampling = UART_ONE_BIT_SAMPLE_DISABLE;
	huart4.AdvancedInit.AdvFeatureInit = UART_ADVFEATURE_NO_INIT;
	if (HAL_UART_Init(&huart4) != HAL_OK)
	{
		Error_Handler();
	}

}

static void MX_UART5_Init(void)
{

	huart5.Instance = UART5;
	huart5.Init.BaudRate = 115200;
	huart5.Init.WordLength = UART_WORDLENGTH_8B;
	huart5.Init.StopBits = UART_STOPBITS_1;
	huart5.Init.Parity = UART_PARITY_NONE;
	huart5.Init.Mode = UART_MODE_TX_RX;
	huart5.Init.HwFlowCtl = UART_HWCONTROL_NONE;
	huart5.Init.OverSampling = UART_OVERSAMPLING_16;
	huart5.Init.OneBitSampling = UART_ONE_BIT_SAMPLE_DISABLE;
	huart5.AdvancedInit.AdvFeatureInit = UART_ADVFEATURE_NO_INIT;
	if (HAL_UART_Init(&huart5) != HAL_OK)
	{
		Error_Handler();
	}

}

static void MX_USART1_UART_Init(void)
{

	huart1.Instance = USART1;
	huart1.Init.BaudRate = 115200;
	huart1.Init.WordLength = UART_WORDLENGTH_8B;
	huart1.Init.StopBits = UART_STOPBITS_1;
	huart1.Init.Parity = UART_PARITY_NONE;
	huart1.Init.Mode = UART_MODE_TX_RX;
	huart1.Init.HwFlowCtl = UART_HWCONTROL_NONE;
	huart1.Init.OverSampling = UART_OVERSAMPLING_16;
	huart1.Init.OneBitSampling = UART_ONE_BIT_SAMPLE_DISABLE;
	huart1.AdvancedInit.AdvFeatureInit = UART_ADVFEATURE_NO_INIT;
	if (HAL_UART_Init(&huart1) != HAL_OK)
	{
		Error_Handler();
	}

}

static void MX_USART2_UART_Init(void)
{

	huart2.Instance = USART2;
	huart2.Init.BaudRate = 1000000;
	huart2.Init.WordLength = UART_WORDLENGTH_8B;
	huart2.Init.StopBits = UART_STOPBITS_1;
	huart2.Init.Parity = UART_PARITY_NONE;
	huart2.Init.Mode = UART_MODE_TX_RX;
	huart2.Init.HwFlowCtl = UART_HWCONTROL_NONE;
	huart2.Init.OverSampling = UART_OVERSAMPLING_16;
	huart2.Init.OneBitSampling = UART_ONE_BIT_SAMPLE_DISABLE;
	huart2.AdvancedInit.AdvFeatureInit = UART_ADVFEATURE_NO_INIT;
	if (HAL_UART_Init(&huart2) != HAL_OK)
	{
		Error_Handler();
	}

}

static void MX_USART3_UART_Init(void)
{

	huart3.Instance = USART3;
	huart3.Init.BaudRate = 115200;
	huart3.Init.WordLength = UART_WORDLENGTH_8B;
	huart3.Init.StopBits = UART_STOPBITS_1;
	huart3.Init.Parity = UART_PARITY_NONE;
	huart3.Init.Mode = UART_MODE_TX_RX;
	huart3.Init.HwFlowCtl = UART_HWCONTROL_NONE;
	huart3.Init.OverSampling = UART_OVERSAMPLING_16;
	huart3.Init.OneBitSampling = UART_ONE_BIT_SAMPLE_DISABLE;
	huart3.AdvancedInit.AdvFeatureInit = UART_ADVFEATURE_NO_INIT;
	if (HAL_UART_Init(&huart3) != HAL_OK)
	{
		Error_Handler();
	}

}

static void MX_GPIO_Init(void)
{
	GPIO_InitTypeDef GPIO_InitStruct = {0};

	/* GPIO Ports Clock Enable */
	__HAL_RCC_GPIOE_CLK_ENABLE();
	__HAL_RCC_GPIOC_CLK_ENABLE();
	__HAL_RCC_GPIOF_CLK_ENABLE();
	__HAL_RCC_GPIOH_CLK_ENABLE();
	__HAL_RCC_GPIOA_CLK_ENABLE();
	__HAL_RCC_GPIOB_CLK_ENABLE();
	__HAL_RCC_GPIOD_CLK_ENABLE();
	__HAL_RCC_GPIOG_CLK_ENABLE();

	/*Configure GPIO pin Output Level */
	HAL_GPIO_WritePin(GPIOE, GPIO_OUT_SPI_CS_SDCARD_Pin|GPIO_OUT_SPI_CS_LCD_Pin, GPIO_PIN_RESET);

	/*Configure GPIO pin Output Level */
	HAL_GPIO_WritePin(GPIOB, LD1_Pin|LD3_Pin|LD2_Pin, GPIO_PIN_RESET);

	/*Configure GPIO pin Output Level */
	HAL_GPIO_WritePin(GPIOG, GPIO_PIN_6, GPIO_PIN_RESET);

	/*Configure GPIO pins : GPIO_OUT_SPI_CS_SDCARD_Pin GPIO_OUT_SPI_CS_LCD_Pin */
	GPIO_InitStruct.Pin = GPIO_OUT_SPI_CS_SDCARD_Pin|GPIO_OUT_SPI_CS_LCD_Pin;
	GPIO_InitStruct.Mode = GPIO_MODE_OUTPUT_PP;
	GPIO_InitStruct.Pull = GPIO_NOPULL;
	GPIO_InitStruct.Speed = GPIO_SPEED_FREQ_LOW;
	HAL_GPIO_Init(GPIOE, &GPIO_InitStruct);

	/*Configure GPIO pins : GPIO_EXTI2_PROXY_TOF_SENS_IRQ_Pin GPIO_EXTI3_IMU_IRQ_Pin GPIO_EXTI4_KPAD_IRQ_Pin GPIO_EXTI8_USER_BUT1_IRQ_Pin
                           GPIO_EXTI9_USER_BUT2_IRQ_Pin GPIO_EXTI10_BUMP1_IRQ_Pin GPIO_EXTI11_BUMP2_IRQ_Pin GPIO_EXTI12_BUMP3_IRQ_Pin
                           GPIO_EXTI13_BUMP4_IRQ_Pin */
	GPIO_InitStruct.Pin = GPIO_EXTI2_PROXY_TOF_SENS_IRQ_Pin|GPIO_EXTI3_IMU_IRQ_Pin|GPIO_EXTI4_KPAD_IRQ_Pin|GPIO_EXTI8_USER_BUT1_IRQ_Pin
			|GPIO_EXTI9_USER_BUT2_IRQ_Pin|GPIO_EXTI10_BUMP1_IRQ_Pin|GPIO_EXTI11_BUMP2_IRQ_Pin|GPIO_EXTI12_BUMP3_IRQ_Pin
			|GPIO_EXTI13_BUMP4_IRQ_Pin;
	GPIO_InitStruct.Mode = GPIO_MODE_IT_RISING;
	GPIO_InitStruct.Pull = GPIO_NOPULL;
	HAL_GPIO_Init(GPIOF, &GPIO_InitStruct);

	/*Configure GPIO pins : RMII_MDC_Pin RMII_RXD0_Pin RMII_RXD1_Pin */
	GPIO_InitStruct.Pin = RMII_MDC_Pin|RMII_RXD0_Pin|RMII_RXD1_Pin;
	GPIO_InitStruct.Mode = GPIO_MODE_AF_PP;
	GPIO_InitStruct.Pull = GPIO_NOPULL;
	GPIO_InitStruct.Speed = GPIO_SPEED_FREQ_VERY_HIGH;
	GPIO_InitStruct.Alternate = GPIO_AF11_ETH;
	HAL_GPIO_Init(GPIOC, &GPIO_InitStruct);

	/*Configure GPIO pins : RMII_REF_CLK_Pin RMII_MDIO_Pin RMII_CRS_DV_Pin */
	GPIO_InitStruct.Pin = RMII_REF_CLK_Pin|RMII_MDIO_Pin|RMII_CRS_DV_Pin;
	GPIO_InitStruct.Mode = GPIO_MODE_AF_PP;
	GPIO_InitStruct.Pull = GPIO_NOPULL;
	GPIO_InitStruct.Speed = GPIO_SPEED_FREQ_VERY_HIGH;
	GPIO_InitStruct.Alternate = GPIO_AF11_ETH;
	HAL_GPIO_Init(GPIOA, &GPIO_InitStruct);

	/*Configure GPIO pins : LD1_Pin LD3_Pin LD2_Pin */
	GPIO_InitStruct.Pin = LD1_Pin|LD3_Pin|LD2_Pin;
	GPIO_InitStruct.Mode = GPIO_MODE_OUTPUT_PP;
	GPIO_InitStruct.Pull = GPIO_NOPULL;
	GPIO_InitStruct.Speed = GPIO_SPEED_FREQ_LOW;
	HAL_GPIO_Init(GPIOB, &GPIO_InitStruct);

	/*Configure GPIO pin : RMII_TXD1_Pin */
	GPIO_InitStruct.Pin = RMII_TXD1_Pin;
	GPIO_InitStruct.Mode = GPIO_MODE_AF_PP;
	GPIO_InitStruct.Pull = GPIO_NOPULL;
	GPIO_InitStruct.Speed = GPIO_SPEED_FREQ_VERY_HIGH;
	GPIO_InitStruct.Alternate = GPIO_AF11_ETH;
	HAL_GPIO_Init(RMII_TXD1_GPIO_Port, &GPIO_InitStruct);

	/*Configure GPIO pin : PG6 */
	GPIO_InitStruct.Pin = GPIO_PIN_6;
	GPIO_InitStruct.Mode = GPIO_MODE_OUTPUT_PP;
	GPIO_InitStruct.Pull = GPIO_NOPULL;
	GPIO_InitStruct.Speed = GPIO_SPEED_FREQ_LOW;
	HAL_GPIO_Init(GPIOG, &GPIO_InitStruct);

	/*Configure GPIO pin : USB_OverCurrent_Pin */
	GPIO_InitStruct.Pin = USB_OverCurrent_Pin;
	GPIO_InitStruct.Mode = GPIO_MODE_INPUT;
	GPIO_InitStruct.Pull = GPIO_NOPULL;
	HAL_GPIO_Init(USB_OverCurrent_GPIO_Port, &GPIO_InitStruct);

	/*Configure GPIO pins : USB_SOF_Pin USB_ID_Pin USB_DM_Pin USB_DP_Pin */
	GPIO_InitStruct.Pin = USB_SOF_Pin|USB_ID_Pin|USB_DM_Pin|USB_DP_Pin;
	GPIO_InitStruct.Mode = GPIO_MODE_AF_PP;
	GPIO_InitStruct.Pull = GPIO_NOPULL;
	GPIO_InitStruct.Speed = GPIO_SPEED_FREQ_VERY_HIGH;
	GPIO_InitStruct.Alternate = GPIO_AF10_OTG_FS;
	HAL_GPIO_Init(GPIOA, &GPIO_InitStruct);

	/*Configure GPIO pin : USB_VBUS_Pin */
	GPIO_InitStruct.Pin = USB_VBUS_Pin;
	GPIO_InitStruct.Mode = GPIO_MODE_INPUT;
	GPIO_InitStruct.Pull = GPIO_NOPULL;
	HAL_GPIO_Init(USB_VBUS_GPIO_Port, &GPIO_InitStruct);

	/*Configure GPIO pins : RMII_TX_EN_Pin RMII_TXD0_Pin */
	GPIO_InitStruct.Pin = RMII_TX_EN_Pin|RMII_TXD0_Pin;
	GPIO_InitStruct.Mode = GPIO_MODE_AF_PP;
	GPIO_InitStruct.Pull = GPIO_NOPULL;
	GPIO_InitStruct.Speed = GPIO_SPEED_FREQ_VERY_HIGH;
	GPIO_InitStruct.Alternate = GPIO_AF11_ETH;
	HAL_GPIO_Init(GPIOG, &GPIO_InitStruct);

}

void Error_Handler(void)
{
	/* USER CODE BEGIN Error_Handler_Debug */
	/* User can add his own implementation to report the HAL error return state */
	__disable_irq();
	while (1)
	{
		static uint32_t kLed = 0;
		if(++kLed >= 1000)
		{
			kLed = 0;
			HAL_GPIO_TogglePin(LD3_GPIO_Port, LD3_Pin);
		}
	}
	/* USER CODE END Error_Handler_Debug */
}
